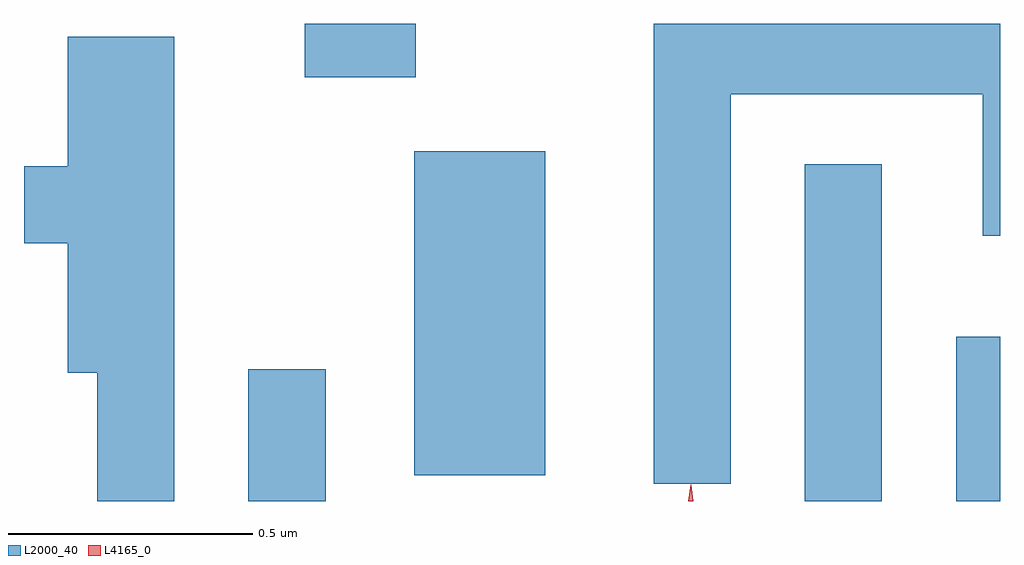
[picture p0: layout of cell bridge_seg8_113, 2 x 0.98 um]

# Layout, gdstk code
import gdstk
lib = gdstk.Library(unit=1e-6, precision=1e-09)
def R(c, l, rs):  # rectangles x0, y0, x1, y1
    for r in rs: c.add(gdstk.rectangle(r[:2], r[2:], *l))
def P(c, l, *ps):  # polygons
    for p in ps: c.add(gdstk.Polygon(p, *l))
L2000_40 = (2000, 40)
L4165_0 = (4165, 0)

bridge_seg8_113 = lib.new_cell('bridge_seg8_113')
R(bridge_seg8_113, L2000_40, [(1563.576,1806.342,1563.734,1806.613), (1564.716,1806.342,1564.874,1807.033), (1565.026,1806.342,1565.116,1806.679), (1563.916,1806.396,1564.184,1807.059), (1563.691,1807.211,1563.919,1807.321)])
P(bridge_seg8_113, L2000_40, [(1564.564,1807.176),(1565.081,1807.176),(1565.081,1806.886),(1565.116,1806.886),(1565.116,1807.321),(1564.406,1807.321),(1564.406,1806.378),(1564.564,1806.378)],
  [(1563.424,1807.294),(1563.206,1807.294),(1563.206,1807.029),(1563.116,1807.029),(1563.116,1806.871),(1563.206,1806.871),(1563.206,1806.606),(1563.266,1806.606),(1563.266,1806.342),(1563.424,1806.342)])
P(bridge_seg8_113, L4165_0, [(1564.477,1806.342),(1564.482,1806.376),(1564.483,1806.376),(1564.487,1806.342)])

lib.write_gds('bridge_seg8_113.gds')
